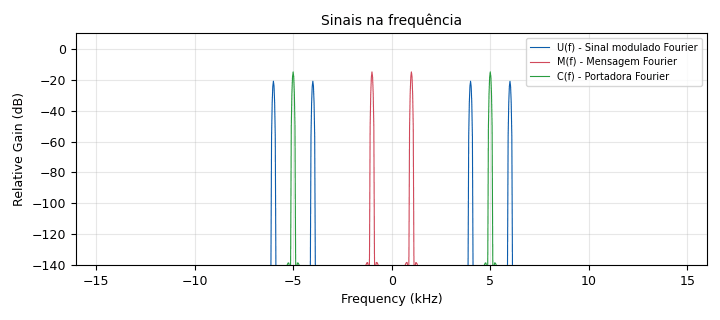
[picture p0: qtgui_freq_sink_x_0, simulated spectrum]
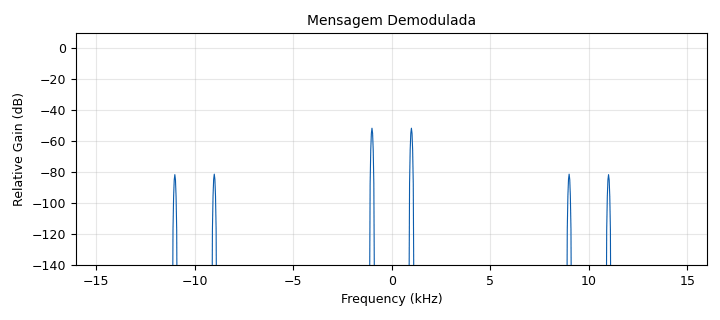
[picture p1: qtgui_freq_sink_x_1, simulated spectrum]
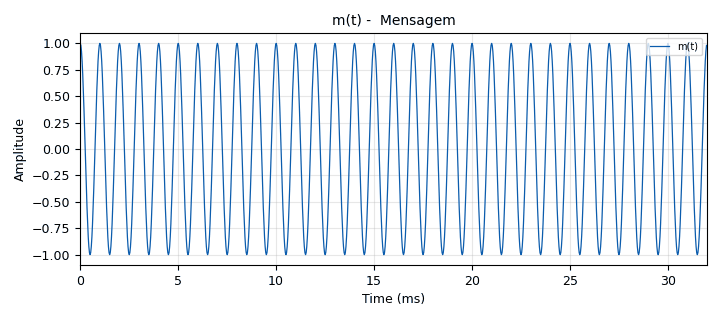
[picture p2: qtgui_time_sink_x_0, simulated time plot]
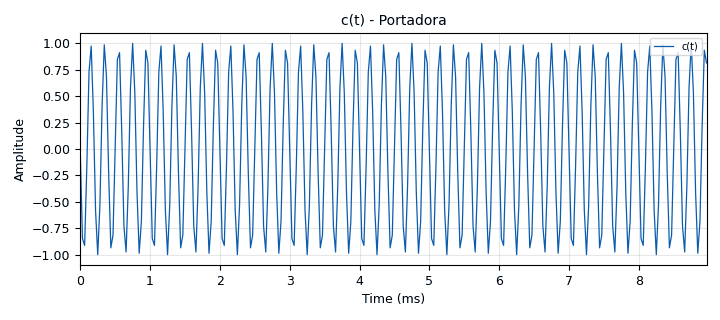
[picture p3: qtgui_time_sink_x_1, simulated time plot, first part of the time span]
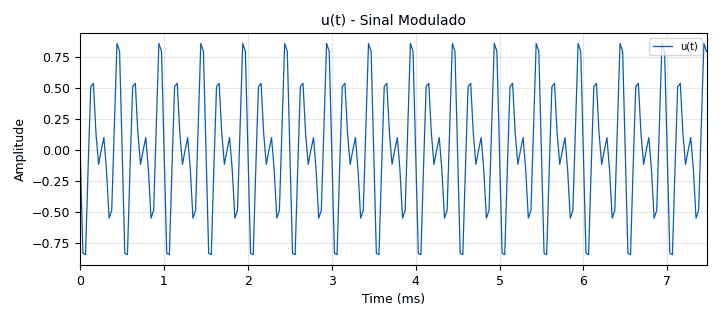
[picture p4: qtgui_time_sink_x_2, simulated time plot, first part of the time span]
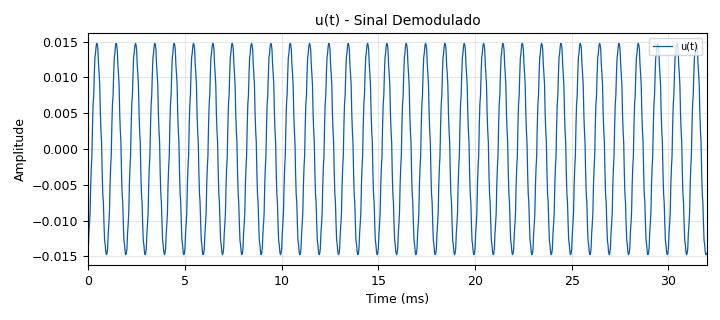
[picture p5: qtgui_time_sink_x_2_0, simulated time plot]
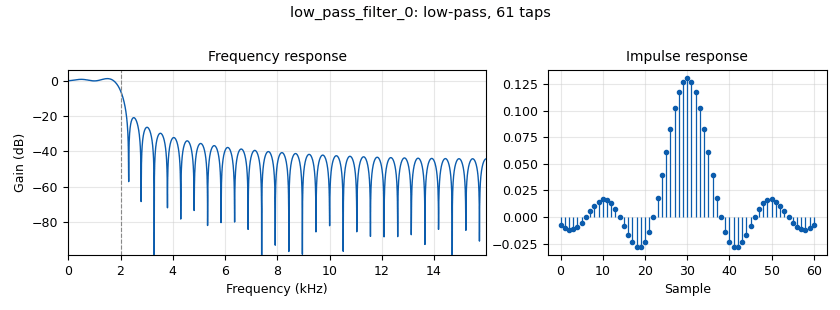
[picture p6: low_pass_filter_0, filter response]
options:
  parameters:
    generate_options: qt_gui
    id: am_dsb_sc
    output_language: python
    title: Not titled yet
  states: {}

blocks:
- name: Ac
  id: variable
  parameters:
    value: '1'
  states: {}
- name: Am
  id: variable
  parameters:
    value: '1'
  states: {}
- name: banda_mensagem
  id: variable
  parameters:
    value: '1000'
  states: {}
- name: fase
  id: variable_qtgui_range
  parameters:
    start: '0'
    step: '0.01'
    stop: '6.28'
    value: '1.600796327'
  states: {}
- name: fc
  id: variable_qtgui_range
  parameters:
    start: '0'
    step: '1'
    stop: '20000'
    value: '5000'
  states: {}
- name: samp_rate
  id: variable
  parameters:
    value: '32000'
  states: {}
- name: analog_sig_source_x_0
  id: analog_sig_source_x
  parameters:
    amp: Am
    freq: banda_mensagem
    offset: '0'
    phase: '0'
    samp_rate: samp_rate
    type: float
    waveform: analog.GR_COS_WAVE
  states: {}
- name: analog_sig_source_x_1
  id: analog_sig_source_x
  parameters:
    amp: Ac
    freq: fc
    offset: '0'
    phase: fase
    samp_rate: samp_rate
    type: float
    waveform: analog.GR_COS_WAVE
  states: {}
- name: analog_sig_source_x_1_0
  id: analog_sig_source_x
  parameters:
    amp: Ac
    freq: '5000'
    offset: '0'
    phase: '0'
    samp_rate: samp_rate
    type: float
    waveform: analog.GR_COS_WAVE
  states: {}
- name: blocks_multiply_xx_0
  id: blocks_multiply_xx
  parameters:
    type: float
  states: {}
- name: blocks_multiply_xx_0_0
  id: blocks_multiply_xx
  parameters:
    type: float
  states: {}
- name: blocks_throttle_0
  id: blocks_throttle
  parameters:
    samples_per_second: samp_rate
    type: float
  states: {}
- name: blocks_throttle_0_0
  id: blocks_throttle
  parameters:
    samples_per_second: samp_rate
    type: float
  states: {}
- name: blocks_throttle_0_1
  id: blocks_throttle
  parameters:
    samples_per_second: samp_rate
    type: float
  states: {}
- name: low_pass_filter_0
  id: low_pass_filter
  parameters:
    cutoff_freq: 2*banda_mensagem
    decim: '1'
    gain: '1'
    samp_rate: samp_rate
    type: fir_filter_fff
    width: 0.5*1e3
    win: window.WIN_RECTANGULAR
  states: {}
- name: qtgui_freq_sink_x_0
  id: qtgui_freq_sink_x
  parameters:
    bw: samp_rate
    fc: '0'
    fftsize: '1024'
    label1: '''U(f) - Sinal modulado Fourier'''
    label2: '''M(f) - Mensagem Fourier'''
    label3: '''C(f) - Portadora Fourier'''
    name: '"Sinais na frequência"'
    nconnections: '3'
    type: float
  states: {}
- name: qtgui_freq_sink_x_1
  id: qtgui_freq_sink_x
  parameters:
    bw: samp_rate
    fc: '0'
    fftsize: '1024'
    name: '"Mensagem Demodulada"'
    type: float
  states: {}
- name: qtgui_time_sink_x_0
  id: qtgui_time_sink_x
  parameters:
    autoscale: 'True'
    grid: 'True'
    label1: m(t)
    name: m(t) -  Mensagem
    size: '1024'
    srate: samp_rate
    type: float
  states: {}
- name: qtgui_time_sink_x_1
  id: qtgui_time_sink_x
  parameters:
    autoscale: 'True'
    grid: 'True'
    label1: c(t)
    name: c(t) - Portadora
    size: '1024'
    srate: samp_rate
    type: float
  states: {}
- name: qtgui_time_sink_x_2
  id: qtgui_time_sink_x
  parameters:
    autoscale: 'True'
    grid: 'True'
    label1: u(t)
    name: u(t) - Sinal Modulado
    size: '1024'
    srate: samp_rate
    type: float
  states: {}
- name: qtgui_time_sink_x_2_0
  id: qtgui_time_sink_x
  parameters:
    autoscale: 'True'
    grid: 'True'
    label1: u(t)
    name: u(t) - Sinal Demodulado
    size: '1024'
    srate: samp_rate
    type: float
  states: {}
- name: virtual_sink_0
  id: virtual_sink
  parameters:
    stream_id: Mensagem Modulada
  states: {}
- name: virtual_sink_0_0
  id: virtual_sink
  parameters:
    stream_id: Oscilador_local_fc
  states: {}
- name: virtual_source_0
  id: virtual_source
  parameters:
    stream_id: Mensagem Modulada
  states: {}
- name: virtual_source_0_0
  id: virtual_source
  parameters:
    stream_id: Oscilador_local_fc
  states: {}

connections:
- [analog_sig_source_x_0, '0', blocks_multiply_xx_0, '0']
- [analog_sig_source_x_0, '0', qtgui_freq_sink_x_0, '1']
- [analog_sig_source_x_0, '0', qtgui_time_sink_x_0, '0']
- [analog_sig_source_x_1, '0', blocks_throttle_0_1, '0']
- [analog_sig_source_x_1, '0', qtgui_freq_sink_x_0, '2']
- [analog_sig_source_x_1, '0', qtgui_time_sink_x_1, '0']
- [analog_sig_source_x_1_0, '0', virtual_sink_0_0, '0']
- [blocks_multiply_xx_0, '0', blocks_throttle_0, '0']
- [blocks_multiply_xx_0_0, '0', blocks_throttle_0_0, '0']
- [blocks_throttle_0, '0', qtgui_freq_sink_x_0, '0']
- [blocks_throttle_0, '0', qtgui_time_sink_x_2, '0']
- [blocks_throttle_0, '0', virtual_sink_0, '0']
- [blocks_throttle_0_0, '0', low_pass_filter_0, '0']
- [blocks_throttle_0_1, '0', blocks_multiply_xx_0, '1']
- [low_pass_filter_0, '0', qtgui_freq_sink_x_1, '0']
- [low_pass_filter_0, '0', qtgui_time_sink_x_2_0, '0']
- [virtual_source_0, '0', blocks_multiply_xx_0_0, '1']
- [virtual_source_0_0, '0', blocks_multiply_xx_0_0, '0']

metadata:
  file_format: 1
